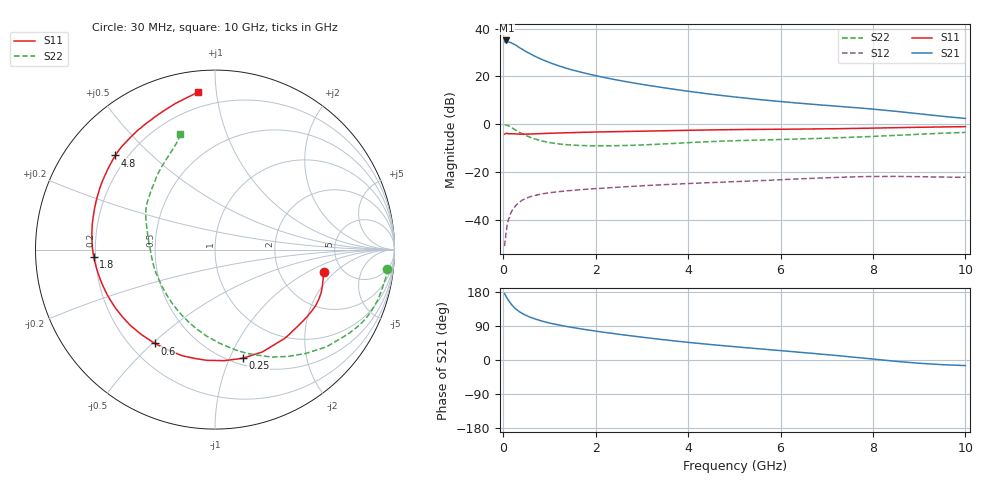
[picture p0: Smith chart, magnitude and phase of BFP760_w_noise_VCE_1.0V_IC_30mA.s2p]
! Infineon Technologies  Discrete & RF Semiconductors
! BFP760
! VCE =  1.0 V,  IC =  30 mA
! Common Emitter S-Parameters:  Nov 2012
# GHz  S  MA  R  50
!  f  S11  S21  S12  S22
! GHz  MAG  ANG  MAG  ANG  MAG  ANG  MAG  ANG
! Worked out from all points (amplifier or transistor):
!   99 points, 30 MHz to 10 GHz, reference 50 ohm
!   highest |S21| = 35.0 dB at 70 MHz (marker M1)
!   |S21| within 3 dB of that: start of sweep to 348.2 MHz
!   unconditionally stable (mu >= 1): 4.045 GHz to end of sweep
!   at 350 MHz: K = 0.26, MSG = 32.3 dB, |S12| = -32.7 dB
!   at 3.5 GHz: K = 0.94, MSG = 20.2 dB, |S12| = -25.3 dB
!   at 10 GHz: K = 1.13, MAG = 10.1 dB, |S12| = -22.2 dB
!   lowest NFmin = 0.75 dB at 900 MHz
!   S11 on the Smith chart (normalised r, x): 30 MHz: 3.62, -1.43; 250 MHz: 0.56, -1.12; 600 MHz: 0.30, -0.51; 1.8 GHz: 0.19, -0.03; 4.8 GHz: 0.15, +0.39; 10 GHz: 0.11, +0.89
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0.03  0.6174 -11.4  52.64 175.0  0.0028 86.3  0.9669 -6.3
0.05  0.6314 -18.6  55.12 170.4  0.004 77.7  0.9599 -11.0
0.07  0.6413 -25.5  56.22 165.9  0.0057 81.9  0.9529 -15.3
0.12  0.6282 -43.1  52.23 156.2  0.0106 72.4  0.9143 -26.4
0.15  0.6288 -51.9  51.46 151.1  0.0129 68.7  0.8789 -32.3
0.2  0.6283 -65.2  48.57 143.4  0.0161 64.4  0.8241 -41.1
0.25  0.6249 -75.8  46.1 137.2  0.0186 60.3  0.7681 -48.9
0.35  0.6187 -94.1  39.69 127.4  0.0232 53.1  0.6771 -62.2
0.4  0.6168 -100.6  37.49 123.7  0.0253 50.8  0.635 -67.9
0.5  0.6174 -112.8  32.74 117.4  0.0282 46.3  0.5719 -78.2
0.6  0.6216 -122.7  29.01 112.2  0.0306 43.1  0.5225 -87.2
0.8  0.633 -138.0  23.34 104.1  0.0341 38.0  0.4546 -102.8
1  0.6428 -149.2  19.44 97.7  0.0366 34.9  0.4118 -115.9
1.7  0.6726 -174.1  12.07 81.8  0.0427 30.1  0.3558 -148.4
1.8  0.6768 -176.7  11.44 79.9  0.0435 29.7  0.3551 -151.8
2.5  0.6981 168.4  8.244 67.9  0.048 28.1  0.3549 -172.1
3.4  0.7239 153.3  5.908 54.5  0.0536 26.5  0.3816 168.6
4.8  0.7634 136.6  3.896 37.4  0.0614 23.8  0.4425 150.5
5.1  0.77 134.2  3.618 34.1  0.0631 23.2  0.4527 147.7
6.7  0.7928 122.5  2.597 17.5  0.0735 19.0  0.4984 133.5
8.5  0.8434 105.2  1.851 -3.5  0.0807 8.2  0.5815 116.6
10  0.8849 96.0  1.313 -14.7  0.0775 4.1  0.672 107.0
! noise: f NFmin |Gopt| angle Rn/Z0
0.9  0.75  0.17  -168  0.1
1.8  0.8  0.19  -157  0.06
2.4  0.85  0.19  -148  0.08
3.5  0.96  0.2  -140  0.1
5.5  1.18  0.27  -99  0.3
8  1.48  0.39  -73  0.42
